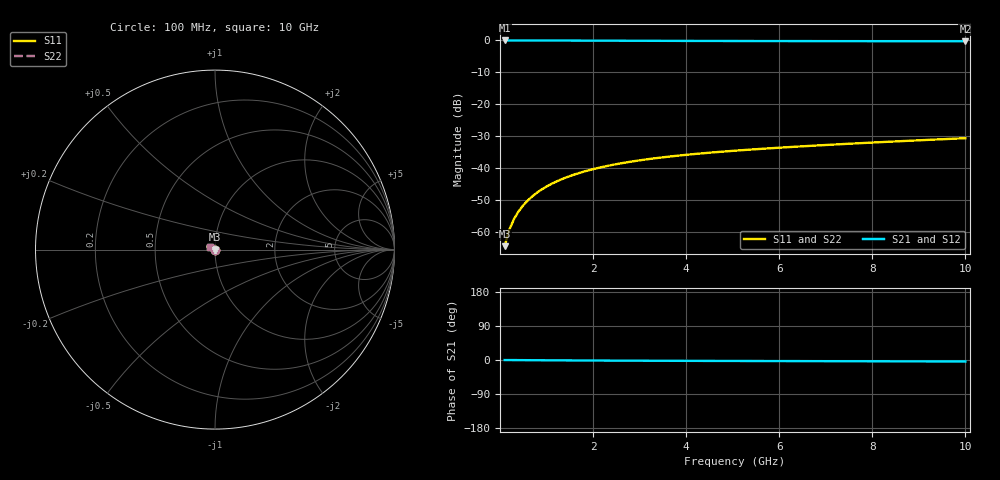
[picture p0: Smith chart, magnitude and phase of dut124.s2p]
! Touchstone file exported from HFSS 2024.1.0
!  File:  C:/UserFiles/LocalFiles/RDL_TSV_Batchsim/temp_TSV1_124_1779379058.aedt
!  Generated:  12:02:15 AM May 22, 2026
!  Design:  TSV1
!  Project:  temp_TSV1_124_1779379058
!  Setup:  Setup1
!  Solution:  Sweep
! Variables:
!  dtsv = 6.24um
!  hbump = 3um
!  htsv = 56.15um
!  lrdl = 252.1521522um
!  p = 40
!  p1 = 48.64um
!  t = 500um
!  trdl = 3um
!  wrdl = 24.89489489um
# GHz S MA R 50.000000
! Terminal data exported
! Port[1] = TSV22_T1
! Port[2] = TSV22_T2
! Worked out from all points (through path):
!   100 points, 100 MHz to 10 GHz, reference 50 ohm
!   highest |S21| = 0.00 dB at 100 MHz (marker M1); lowest = -0.3 dB at 10 GHz (marker M2)
!   lowest |S11| = -64.5 dB at 100 MHz (marker M3), VSWR 1.00, Z = 50 - j0.0528 ohm
!   |S11| at or under -10 dB: start of sweep to end of sweep
!   |S22| runs from -64.5 to -30.7 dB; largest |S21 - S12| = 2.1e-15
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0.1  0.0005946 -62.5  0.9997 -0.1  0.9997 -0.1  0.0005946 -62.5
! Gamma 0 0 0 0
! Port Impedance 50 0 50 0
0.2  0.001073 -78.7  0.9996 -0.2  0.9996 -0.2  0.001073 -78.7
0.3  0.001577 -86.2  0.9995 -0.2  0.9995 -0.2  0.001577 -86.2
0.4  0.002087 -91.2  0.9993 -0.3  0.9993 -0.3  0.002087 -91.2
0.5  0.002599 -95.0  0.9991 -0.4  0.9991 -0.4  0.002599 -95.0
0.6  0.003111 -98.3  0.9989 -0.5  0.9989 -0.5  0.003111 -98.3
0.7  0.003619 -101.2  0.9986 -0.6  0.9986 -0.6  0.003619 -101.2
0.8  0.004123 -103.9  0.9983 -0.6  0.9983 -0.6  0.004123 -103.9
0.9  0.004622 -106.4  0.998 -0.7  0.998 -0.7  0.004622 -106.4
1.1  0.005599 -111.2  0.9973 -0.8  0.9973 -0.8  0.005599 -111.2
1.4  0.007007 -117.8  0.996 -1.0  0.996 -1.0  0.007007 -117.9
1.6  0.007903 -122.0  0.9951 -1.2  0.9951 -1.2  0.007903 -122.0
1.8  0.008763 -126.0  0.9941 -1.3  0.9941 -1.3  0.008763 -126.0
2.1  0.009983 -131.8  0.9926 -1.5  0.9926 -1.5  0.009983 -131.8
2.5  0.01149 -139.0  0.9905 -1.7  0.9905 -1.7  0.01149 -139.0
2.9  0.01286 -145.6  0.9885 -1.8  0.9885 -1.8  0.01286 -145.6
3.4  0.01441 -153.3  0.9862 -2.0  0.9862 -2.0  0.01441 -153.3
4.2  0.01661 -164.1  0.9829 -2.3  0.9829 -2.3  0.01661 -164.1
5.1  0.01879 -174.5  0.9799 -2.6  0.9799 -2.6  0.01879 -174.5
6.7  0.02231 170.6  0.976 -3.0  0.976 -3.0  0.02231 170.6
8.4  0.0259 158.4  0.9733 -3.5  0.9733 -3.5  0.0259 158.4
10  0.02933 149.4  0.9715 -4.0  0.9715 -4.0  0.02933 149.4
